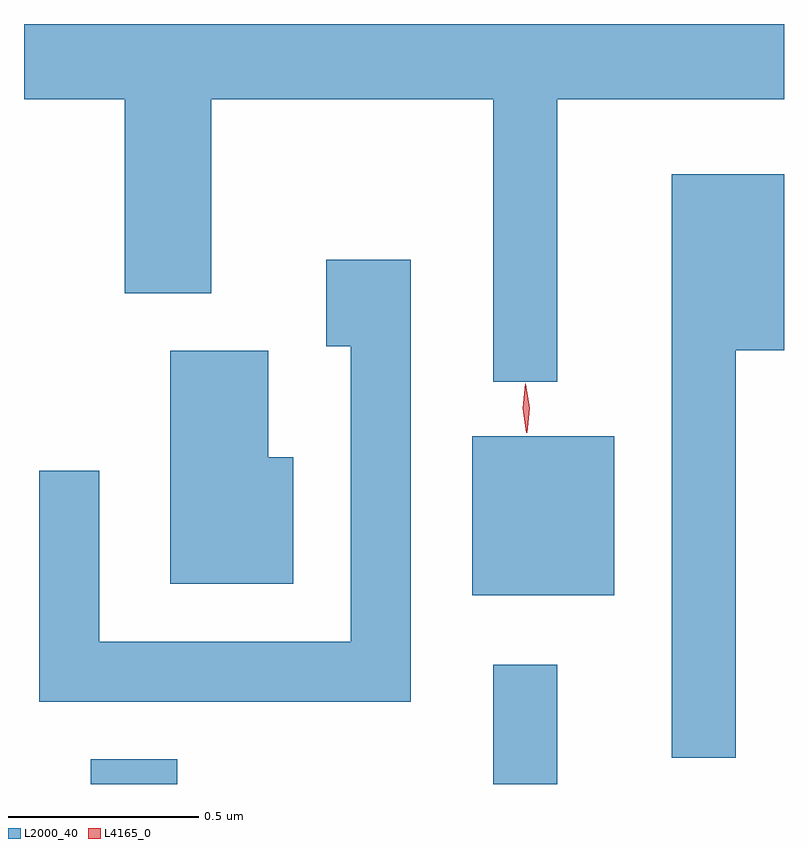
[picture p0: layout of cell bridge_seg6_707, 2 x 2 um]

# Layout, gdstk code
import gdstk
lib = gdstk.Library(unit=1e-6, precision=1e-09)
def R(c, l, rs):  # rectangles x0, y0, x1, y1
    for r in rs: c.add(gdstk.rectangle(r[:2], r[2:], *l))
def P(c, l, *ps):  # polygons
    for p in ps: c.add(gdstk.Polygon(p, *l))
L2000_40 = (2000, 40)
L4165_0 = (4165, 0)

bridge_seg6_707 = lib.new_cell('bridge_seg6_707')
R(bridge_seg6_707, L2000_40, [(212.441,1641.474,212.669,1641.539), (213.501,1641.474,213.669,1641.788), (213.446,1641.971,213.819,1642.389)])
P(bridge_seg6_707, L2000_40, [(213.669,1643.276),(214.266,1643.276),(214.266,1643.474),(212.266,1643.474),(212.266,1643.276),(212.531,1643.276),(212.531,1642.766),(212.759,1642.766),(212.759,1643.276),(213.501,1643.276),(213.501,1642.533),(213.669,1642.533)],
  [(214.139,1642.616),(214.266,1642.616),(214.266,1643.079),(213.971,1643.079),(213.971,1641.543),(214.139,1641.543)],
  [(213.284,1642.854),(213.061,1642.854),(213.061,1642.626),(213.126,1642.626),(213.126,1641.849),(212.464,1641.849),(212.464,1642.298),(212.306,1642.298),(212.306,1641.691),(213.284,1641.691)],
  [(212.974,1642.334),(212.909,1642.334),(212.909,1642.614),(212.651,1642.614),(212.651,1642.001),(212.974,1642.001)])
P(bridge_seg6_707, L4165_0, [(213.589,1642.398),(213.588,1642.399),(213.578,1642.463),(213.585,1642.527),(213.586,1642.527),(213.586,1642.527),(213.597,1642.463),(213.59,1642.399)])

lib.write_gds('bridge_seg6_707.gds')
